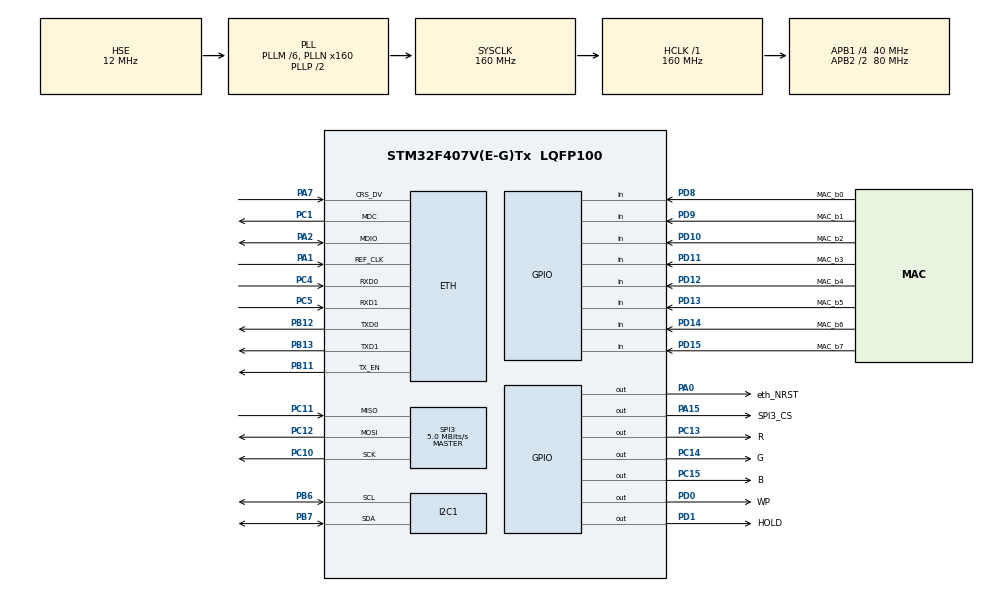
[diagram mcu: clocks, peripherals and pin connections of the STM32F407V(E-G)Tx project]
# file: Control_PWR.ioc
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ETH.MACAddr=44\:84\:23\:84\:44\:76
ETH.MediaInterface=HAL_ETH_RMII_MODE
FREERTOS.BinarySemaphores01=ADC_end,Dynamic,NULL;ADC_end2,Dynamic,NULL
FREERTOS.Mutexes01=s2DistanceMutex,Dynamic,NULL;mutexADC,Dynamic,NULL;s1DistanceMutex,Dynamic,NULL;setMutex,Dynamic,NULL
FREERTOS.Tasks01=MainTask,0,256,mainTask,Default,NULL,Dynamic,NULL,NULL;LED,0,128,led,Default,NULL,Dynamic,NULL,NULL;ethTas,0,768,eth_Task,Default,NULL,Dynamic,NULL,NULL
FREERTOS.configTOTAL_HEAP_SIZE=24000
FREERTOS.configUSE_NEWLIB_REENTRANT=1
I2C1.I2C_Mode=I2C_Standard
LWIP.BSP.number=1
LWIP.LWIP_DHCP=0
LWIP.LWIP_DNS=1
LWIP.LWIP_NETIF_EXT_STATUS_CALLBACK=1
LWIP.LWIP_NETIF_STATUS_CALLBACK=1
LWIP.Version=v2.1.2_Cube
LWIP0.BSP.STBoard=false
LWIP0.BSP.api=BSP_COMPONENT_DRIVER
LWIP0.BSP.component=LAN8742
LWIP0.BSP.instance=LAN8742
LWIP0.BSP.name=Driver_PHY
LWIP0.BSP.semaphore=S_LAN8742
LWIP0.BSP.solution=LAN8742
Mcu.Family=STM32F4
Mcu.Name=STM32F407V(E-G)Tx
Mcu.Package=LQFP100
NVIC.ETH_IRQn=true\:5\:0\:false\:false\:true\:true\:false\:true\:true
NVIC.PriorityGroup=NVIC_PRIORITYGROUP_4
NVIC.TIM7_IRQn=true\:15\:0\:false\:false\:true\:false\:false\:true\:true
NVIC.TimeBase=TIM7_IRQn
NVIC.TimeBaseIP=TIM7
PA0-WKUP.GPIO_Label=eth_NRST
PA0-WKUP.Signal=GPIO_Output
PA1.Mode=RMII
PA1.Signal=ETH_REF_CLK
PA10.Signal=USART1_RX
PA13.Mode=Serial_Wire
PA13.Signal=SYS_JTMS-SWDIO
PA14.Mode=Serial_Wire
PA14.Signal=SYS_JTCK-SWCLK
PA15.GPIO_Label=SPI3_CS
PA15.Signal=GPIO_Output
PA2.Mode=RMII
PA2.Signal=ETH_MDIO
PA3.Signal=ADCx_IN3
PA4.Signal=ADCx_IN4
PA7.Mode=RMII
PA7.Signal=ETH_CRS_DV
PA9.Signal=USART1_TX
PB11.Mode=RMII
PB11.Signal=ETH_TX_EN
PB12.Mode=RMII
PB12.Signal=ETH_TXD0
PB13.Mode=RMII
PB13.Signal=ETH_TXD1
PB6.GPIO_Pu=GPIO_PULLUP
PB6.Mode=I2C
PB6.Signal=I2C1_SCL
PB7.GPIO_Pu=GPIO_PULLUP
PB7.Mode=I2C
PB7.Signal=I2C1_SDA
PC1.Mode=RMII
PC1.Signal=ETH_MDC
PC10.Mode=Full_Duplex_Master
PC10.Signal=SPI3_SCK
PC11.Mode=Full_Duplex_Master
PC11.Signal=SPI3_MISO
PC12.Mode=Full_Duplex_Master
PC12.Signal=SPI3_MOSI
PC13-ANTI_TAMP.GPIO_Label=R
PC13-ANTI_TAMP.Signal=GPIO_Output
PC14-OSC32_IN.GPIO_Label=G
PC14-OSC32_IN.Signal=GPIO_Output
PC15-OSC32_OUT.GPIO_Label=B
PC15-OSC32_OUT.Signal=GPIO_Output
PC4.Mode=RMII
PC4.Signal=ETH_RXD0
PC5.Mode=RMII
PC5.Signal=ETH_RXD1
PD0.GPIO_Label=WP
PD0.Signal=GPIO_Output
PD1.GPIO_Label=HOLD
PD1.Signal=GPIO_Output
PD10.GPIO_Label=MAC_b2
PD10.GPIO_PuPd=GPIO_PULLDOWN
PD10.Signal=GPIO_Input
PD11.GPIO_Label=MAC_b3
PD11.GPIO_PuPd=GPIO_PULLDOWN
PD11.Signal=GPIO_Input
PD12.GPIO_Label=MAC_b4
PD12.GPIO_PuPd=GPIO_PULLDOWN
PD12.Signal=GPIO_Input
PD13.GPIO_Label=MAC_b5
PD13.GPIO_PuPd=GPIO_PULLDOWN
PD13.Signal=GPIO_Input
PD14.GPIO_Label=MAC_b6
PD14.GPIO_PuPd=GPIO_PULLDOWN
PD14.Signal=GPIO_Input
PD15.GPIO_Label=MAC_b7
PD15.GPIO_PuPd=GPIO_PULLDOWN
PD15.Signal=GPIO_Input
PD8.GPIO_Label=MAC_b0
PD8.GPIO_PuPd=GPIO_PULLDOWN
PD8.Signal=GPIO_Input
PD9.GPIO_Label=MAC_b1
PD9.GPIO_PuPd=GPIO_PULLDOWN
PD9.Signal=GPIO_Input
PH0-OSC_IN.Mode=HSE-External-Oscillator
PH0-OSC_IN.Signal=RCC_OSC_IN
PH1-OSC_OUT.Mode=HSE-External-Oscillator
PH1-OSC_OUT.Signal=RCC_OSC_OUT
ProjectManager.HeapSize=0x2000
ProjectManager.StackSize=0x4000
ProjectManager.TargetToolchain=STM32CubeIDE
RCC.48MHZClocksFreq_Value=80000000
RCC.AHBFreq_Value=160000000
RCC.APB1CLKDivider=RCC_HCLK_DIV4
RCC.APB1Freq_Value=40000000
RCC.APB1TimFreq_Value=80000000
RCC.APB2CLKDivider=RCC_HCLK_DIV2
RCC.APB2Freq_Value=80000000
RCC.APB2TimFreq_Value=160000000
RCC.CortexFreq_Value=160000000
RCC.HCLKFreq_Value=160000000
RCC.HSE_VALUE=12000000
RCC.HSI_VALUE=16000000
RCC.LSE_VALUE=32768
RCC.PLLM=6
RCC.PLLN=160
RCC.PLLSourceVirtual=RCC_PLLSOURCE_HSE
RCC.SYSCLKFreq_VALUE=160000000
RCC.SYSCLKSource=RCC_SYSCLKSOURCE_PLLCLK
RCC.VCOOutputFreq_Value=320000000
SH.ADCx_IN3.0=ADC1_IN3
SH.ADCx_IN4.0=ADC2_IN4
SPI3.BaudRatePrescaler=SPI_BAUDRATEPRESCALER_8
SPI3.CalculateBaudRate=5.0 MBits/s
SPI3.Direction=SPI_DIRECTION_2LINES
SPI3.Mode=SPI_MODE_MASTER
SPI3.VirtualType=VM_MASTER
VP_FREERTOS_VS_CMSIS_V1.Mode=CMSIS_V1
VP_LWIP_VS_Enabled.Mode=Enabled
VP_SYS_VS_tim7.Mode=TIM7
board=custom

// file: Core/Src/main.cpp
/* USER CODE BEGIN Header */
/**
 ******************************************************************************
 * @file           : main.c
 * @brief          : Main program body
 ******************************************************************************
 * @attention
 *
 * Copyright (c) 2022 STMicroelectronics.
 * All rights reserved.
 *
 * This software is licensed under terms that can be found in the LICENSE file
 * in the root directory of this software component.
 * If no LICENSE file comes with this software, it is provided AS-IS.
 *
 ******************************************************************************
 */
/* USER CODE END Header */
#include "main.h"
#include "cmsis_os.h"
#include "i2c.h"
#include "lwip.h"
#include "spi.h"
#include "gpio.h"

/* USER CODE BEGIN Includes */
#include "flash_spi.h"
#include "Delay_us_DWT.h"
#include "LED.h"
/* USER CODE END Includes */

/* USER CODE BEGIN PV */
settings_t settings = {0, 0x0E};

uint32_t count_tic = 0; //для замеров времени выполнения кода

led LED_IPadr;
led LED_error;
led LED_OSstart;

bool resetSettings = false;

// for SPI Flash
extern SPI_HandleTypeDef hspi3;
pins_spi_t ChipSelect = {SPI3_CS_GPIO_Port, SPI3_CS_Pin};
pins_spi_t WriteProtect = {WP_GPIO_Port, WP_Pin};
pins_spi_t Hold = {HOLD_GPIO_Port, HOLD_Pin};
flash mem_spi;

//for i2c
//g_stat_t I2C_net[45];

/* USER CODE END PV */

void SystemClock_Config(void);
void MX_FREERTOS_Init(void);

int main(void)
{

  /* MCU Configuration--------------------------------------------------------*/

  /* Reset of all peripherals, Initializes the Flash interface and the Systick. */
  HAL_Init();

  /* Configure the system clock */
  SystemClock_Config();

  /* Initialize all configured peripherals */
  MX_GPIO_Init();
  MX_SPI3_Init();
  MX_I2C1_Init();
  /* USER CODE BEGIN 2 */

	// read jumpers
	uint8_t endMAC;
	//Bit0
	if (HAL_GPIO_ReadPin(MAC_b0_GPIO_Port, MAC_b0_Pin)) SET_BIT(endMAC,1<<0);
	else CLEAR_BIT(endMAC,1<<0);
	//Bit1
	if (HAL_GPIO_ReadPin(MAC_b1_GPIO_Port, MAC_b1_Pin)) SET_BIT(endMAC,1<<1);
	else CLEAR_BIT(endMAC,1<<1);
	//Bit2
	if (HAL_GPIO_ReadPin(MAC_b2_GPIO_Port, MAC_b2_Pin)) SET_BIT(endMAC,1<<2);
	else CLEAR_BIT(endMAC,1<<2);
	//Bit3
	if (HAL_GPIO_ReadPin(MAC_b3_GPIO_Port, MAC_b3_Pin)) SET_BIT(endMAC,1<<3);
	else CLEAR_BIT(endMAC,1<<3);
	//Bit4
	if (HAL_GPIO_ReadPin(MAC_b4_GPIO_Port, MAC_b4_Pin)) SET_BIT(endMAC,1<<4);
	else CLEAR_BIT(endMAC,1<<4);
	//Bit5
	if (HAL_GPIO_ReadPin(MAC_b5_GPIO_Port, MAC_b5_Pin)) SET_BIT(endMAC,1<<5);
	else CLEAR_BIT(endMAC,1<<5);
	//Bit6
	if (HAL_GPIO_ReadPin(MAC_b6_GPIO_Port, MAC_b6_Pin)) SET_BIT(endMAC,1<<6);
	else CLEAR_BIT(endMAC,1<<6);
	//Bit7
	if (HAL_GPIO_ReadPin(MAC_b7_GPIO_Port, MAC_b7_Pin)) SET_BIT(endMAC,1<<7);
	else CLEAR_BIT(endMAC,1<<7);

	settings.MAC_end = endMAC;

	// работаем снастройками из флешки
	HAL_GPIO_WritePin(eth_NRST_GPIO_Port, eth_NRST_Pin, GPIO_PIN_SET);

	HAL_GPIO_WritePin(HOLD_GPIO_Port, HOLD_Pin, GPIO_PIN_SET);
	HAL_GPIO_WritePin(WP_GPIO_Port, WP_Pin, GPIO_PIN_SET);

	mem_spi.Init(&hspi3, 0, ChipSelect, WriteProtect, Hold);

	mem_spi.Read(&settings);

	if ((settings.MAC_end == 0) | (settings.MAC_end == 0xFF) | resetSettings)
	{
		mem_spi.W25qxx_EraseSector(0);
		settings.isON_from_settings = false;
		settings.MAC_end = endMAC;
		settings.MAC_end_from_settings = 1;

		settings.DHCPset = true;

		settings.saveIP.ip[0] = 192;
		settings.saveIP.ip[1] = 168;
		settings.saveIP.ip[2] = 0;
		settings.saveIP.ip[3] = 2;

		settings.saveIP.mask[0] = 255;
		settings.saveIP.mask[1] = 255;
		settings.saveIP.mask[2] = 255;
		settings.saveIP.mask[3] = 0;

		settings.saveIP.gateway[0] = 192;
		settings.saveIP.gateway[1] = 168;
		settings.saveIP.gateway[2] = 0;
		settings.saveIP.gateway[3] = 1;

		settings.version = 10;

		// Записываем канналы

		mem_spi.Write(settings);

		mem_spi.Read(&settings);
	}

	// настройка первоночального состояния канналов
	if (settings.isON_from_settings) { // если состояние нужно взять из настроек
		// ничего не делаем состояния уже загруженны
	} else {

		//иначе выключаем все канналы

	}

  /* USER CODE END 2 */

  /* Call init function for freertos objects (in freertos.c) */
  MX_FREERTOS_Init();

  /* Start scheduler */
  osKernelStart();
  /* We should never get here as control is now taken by the scheduler */
  /* Infinite loop */
	while (1)
	{

	}
}

void SystemClock_Config(void)
{
  RCC_OscInitTypeDef RCC_OscInitStruct = {0};
  RCC_ClkInitTypeDef RCC_ClkInitStruct = {0};

  /** Configure the main internal regulator output voltage
  */
  __HAL_RCC_PWR_CLK_ENABLE();
  __HAL_PWR_VOLTAGESCALING_CONFIG(PWR_REGULATOR_VOLTAGE_SCALE1);

  /** Initializes the RCC Oscillators according to the specified parameters
  * in the RCC_OscInitTypeDef structure.
  */
  RCC_OscInitStruct.OscillatorType = RCC_OSCILLATORTYPE_HSE;
  RCC_OscInitStruct.HSEState = RCC_HSE_ON;
  RCC_OscInitStruct.PLL.PLLState = RCC_PLL_ON;
  RCC_OscInitStruct.PLL.PLLSource = RCC_PLLSOURCE_HSE;
  RCC_OscInitStruct.PLL.PLLM = 6;
  RCC_OscInitStruct.PLL.PLLN = 160;
  RCC_OscInitStruct.PLL.PLLP = RCC_PLLP_DIV2;
  RCC_OscInitStruct.PLL.PLLQ = 4;
  if (HAL_RCC_OscConfig(&RCC_OscInitStruct) != HAL_OK)
  {
    Error_Handler();
  }

  /** Initializes the CPU, AHB and APB buses clocks
  */
  RCC_ClkInitStruct.ClockType = RCC_CLOCKTYPE_HCLK|RCC_CLOCKTYPE_SYSCLK
                              |RCC_CLOCKTYPE_PCLK1|RCC_CLOCKTYPE_PCLK2;
  RCC_ClkInitStruct.SYSCLKSource = RCC_SYSCLKSOURCE_PLLCLK;
  RCC_ClkInitStruct.AHBCLKDivider = RCC_SYSCLK_DIV1;
  RCC_ClkInitStruct.APB1CLKDivider = RCC_HCLK_DIV4;
  RCC_ClkInitStruct.APB2CLKDivider = RCC_HCLK_DIV2;

  if (HAL_RCC_ClockConfig(&RCC_ClkInitStruct, FLASH_LATENCY_5) != HAL_OK)
  {
    Error_Handler();
  }
}

void HAL_TIM_PeriodElapsedCallback(TIM_HandleTypeDef *htim)
{
  if (htim->Instance == TIM7) {
    HAL_IncTick();
  }
}

void Error_Handler(void)
{
	__disable_irq();
	while (1)
	{
	}
}
